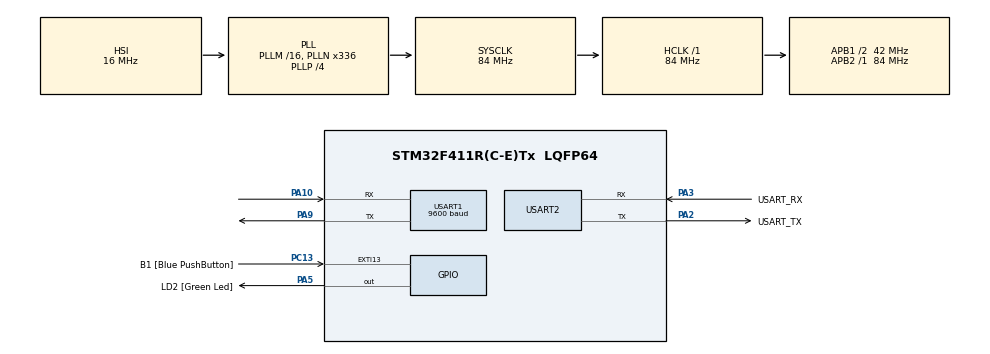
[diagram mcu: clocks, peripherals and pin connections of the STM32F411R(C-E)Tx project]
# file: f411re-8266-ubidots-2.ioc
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Mcu.Family=STM32F4
Mcu.Name=STM32F411R(C-E)Tx
Mcu.Package=LQFP64
NVIC.PriorityGroup=NVIC_PRIORITYGROUP_4
NVIC.USART1_IRQn=true\:1\:0\:true\:false\:true\:true\:true
PA10.Mode=Asynchronous
PA10.Signal=USART1_RX
PA13.GPIO_Label=TMS
PA13.Mode=Serial_Wire
PA13.Signal=SYS_JTMS-SWDIO
PA14.GPIO_Label=TCK
PA14.Mode=Serial_Wire
PA14.Signal=SYS_JTCK-SWCLK
PA2.GPIO_Label=USART_TX
PA2.Mode=Asynchronous
PA2.Signal=USART2_TX
PA3.GPIO_Label=USART_RX
PA3.Mode=Asynchronous
PA3.Signal=USART2_RX
PA5.GPIO_Label=LD2 [Green Led]
PA5.Signal=GPIO_Output
PA9.Mode=Asynchronous
PA9.Signal=USART1_TX
PB3.GPIO_Label=SWO
PB3.Signal=SYS_JTDO-SWO
PC13-ANTI_TAMP.GPIO_Label=B1 [Blue PushButton]
PC13-ANTI_TAMP.GPIO_ModeDefaultEXTI=GPIO_MODE_IT_FALLING
PC13-ANTI_TAMP.Signal=GPXTI13
PC14-OSC32_IN.Mode=LSE-External-Oscillator
PC14-OSC32_IN.Signal=RCC_OSC32_IN
PC15-OSC32_OUT.Mode=LSE-External-Oscillator
PC15-OSC32_OUT.Signal=RCC_OSC32_OUT
PH0\ -\ OSC_IN.Mode=HSE-External-Clock-Source
PH0\ -\ OSC_IN.Signal=RCC_OSC_IN
PH1\ -\ OSC_OUT.Mode=HSE-External-Clock-Source
PH1\ -\ OSC_OUT.Signal=RCC_OSC_OUT
ProjectManager.HeapSize=0x200
ProjectManager.StackSize=0x400
ProjectManager.TargetToolchain=STM32CubeIDE
RCC.48MHZClocksFreq_Value=84000000
RCC.AHBFreq_Value=84000000
RCC.APB1CLKDivider=RCC_HCLK_DIV2
RCC.APB1Freq_Value=42000000
RCC.APB1TimFreq_Value=84000000
RCC.APB2Freq_Value=84000000
RCC.APB2TimFreq_Value=84000000
RCC.CortexFreq_Value=84000000
RCC.FLatency-AdvancedSettings=FLASH_LATENCY_2
RCC.HCLKFreq_Value=84000000
RCC.HSE_VALUE=8000000
RCC.HSI_VALUE=16000000
RCC.PLLN=336
RCC.PLLP=RCC_PLLP_DIV4
RCC.SYSCLKFreq_VALUE=84000000
RCC.SYSCLKSource=RCC_SYSCLKSOURCE_PLLCLK
RCC.VCOOutputFreq_Value=336000000
USART1.BaudRate=9600
USART1.VirtualMode=VM_ASYNC
USART2.VirtualMode=VM_ASYNC
board=NUCLEO-F411RE

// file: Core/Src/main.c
/* USER CODE BEGIN Header */
/**
  ******************************************************************************
  * @file           : main.c
  * @brief          : Main program body
  ******************************************************************************
  * @attention
  *
  * <h2><center>&copy; Copyright (c) 2021 STMicroelectronics.
  * All rights reserved.</center></h2>
  *
  * This software component is licensed by ST under BSD 3-Clause license,
  * the "License"; You may not use this file except in compliance with the
  * License. You may obtain a copy of the License at:
  *                        opensource.org/licenses/BSD-3-Clause
  *
  ******************************************************************************
  */
/* USER CODE END Header */
#include "main.h"

/* USER CODE BEGIN Includes */
#include <stdio.h>
#include <string.h>
/* USER CODE END Includes */

UART_HandleTypeDef huart1;
UART_HandleTypeDef huart2;

void SystemClock_Config(void);
static void MX_GPIO_Init(void);
static void MX_USART2_UART_Init(void);
static void MX_USART1_UART_Init(void);

/* USER CODE BEGIN 0 */
const char WIFI_NAME[] = "GET_SSID";
const char WIFI_PASSW[] = "GET_PASSWORD";
const char UBIDOTS_TOKEN[] =   "GET_TOKEN";
const char UBIDOTS_DEVICE[] = "Demo";

char sendBuff[512], sendBuff2[512];
char sendBuffer[512];
char message[128];

uint8_t recArr[64], recData;
uint8_t buffLen, buffLen2, buffCnt = 0;
uint8_t count = 0;

void HAL_UART_RxCpltCallback(UART_HandleTypeDef *huart)
{
	recArr[buffCnt++] = recData;
	if(buffCnt == 64) buffCnt = 0;
	HAL_UART_Receive_IT(&huart1, &recData, 1);
}
/* USER CODE END 0 */

int main(void)
{

  /* MCU Configuration--------------------------------------------------------*/

  /* Reset of all peripherals, Initializes the Flash interface and the Systick. */
  HAL_Init();

  /* Configure the system clock */
  SystemClock_Config();

  /* Initialize all configured peripherals */
  MX_GPIO_Init();
  MX_USART2_UART_Init();
  MX_USART1_UART_Init();
  /* USER CODE BEGIN 2 */

  // Wifi Connection
  buffLen = sprintf(sendBuff, "AT+CWMODE_CUR=1\r\n");
  HAL_UART_Transmit(&huart1, (uint8_t *)sendBuff, buffLen, 1000);

  buffLen = sprintf(sendBuff, "AT+CWLAP\r\n");
  HAL_UART_Transmit(&huart1, (uint8_t *)sendBuff, buffLen, 1000);

  HAL_Delay(2000);

  buffLen = sprintf(sendBuff, "AT+CWJAP_CUR=\"%s\",\"%s\"\r\n", WIFI_NAME, WIFI_PASSW);
  HAL_UART_Transmit(&huart1, (uint8_t *)sendBuff, buffLen, 1000);

  /* USER CODE END 2 */

  /* Infinite loop */
  /* USER CODE BEGIN WHILE */
  while (1)
  {
	  HAL_GPIO_TogglePin(LD2_GPIO_Port,LD2_Pin);
	  HAL_Delay(500);
    /* USER CODE END WHILE */

    /* USER CODE BEGIN 3 */
	  count++;		// increment counter

	  // connect Ubidots server
	  buffLen = sprintf(sendBuff, "AT+CIPSTART=\"TCP\",\"things.ubidots.com\",80\r\n");
	  HAL_UART_Transmit(&huart1, (uint8_t *)sendBuff, buffLen, 1000);
	  HAL_Delay(3000);

	  /* Construct content of HTTP command */
	  sprintf(message, "{\"counter\": %d}", (int)count);
	  printf("Content Length = %d\r\n", (int)strlen(message));

	  // after connection to Ubidots, prepare data to send
	  buffLen = sprintf(sendBuff, "POST /api/v1.6/devices/%s/?token=%s HTTP/1.1\r\nHost: things.ubidots.com\r\nContent-Type: application/json\r\nContent-Length: %d\r\n\r\n%s", UBIDOTS_DEVICE, UBIDOTS_TOKEN, (int)strlen(message),message);
	  buffLen2 = sprintf(sendBuff2, "AT+CIPSEND=%d\r\n", buffLen);

	  // send prepared buffers to Ubidots using ESP8266
	  HAL_UART_Transmit(&huart1, (uint8_t *)sendBuff2, buffLen2, 1000);
	  HAL_Delay(1000);
	  HAL_UART_Transmit(&huart1, (uint8_t *)sendBuff, buffLen, 1000);

	  // wait for 15s to send new data
	  HAL_Delay(15000);
  }
  /* USER CODE END 3 */
}

void SystemClock_Config(void)
{
  RCC_OscInitTypeDef RCC_OscInitStruct = {0};
  RCC_ClkInitTypeDef RCC_ClkInitStruct = {0};

  /** Configure the main internal regulator output voltage
  */
  __HAL_RCC_PWR_CLK_ENABLE();
  __HAL_PWR_VOLTAGESCALING_CONFIG(PWR_REGULATOR_VOLTAGE_SCALE1);
  /** Initializes the RCC Oscillators according to the specified parameters
  * in the RCC_OscInitTypeDef structure.
  */
  RCC_OscInitStruct.OscillatorType = RCC_OSCILLATORTYPE_HSI;
  RCC_OscInitStruct.HSIState = RCC_HSI_ON;
  RCC_OscInitStruct.HSICalibrationValue = RCC_HSICALIBRATION_DEFAULT;
  RCC_OscInitStruct.PLL.PLLState = RCC_PLL_ON;
  RCC_OscInitStruct.PLL.PLLSource = RCC_PLLSOURCE_HSI;
  RCC_OscInitStruct.PLL.PLLM = 16;
  RCC_OscInitStruct.PLL.PLLN = 336;
  RCC_OscInitStruct.PLL.PLLP = RCC_PLLP_DIV4;
  RCC_OscInitStruct.PLL.PLLQ = 4;
  if (HAL_RCC_OscConfig(&RCC_OscInitStruct) != HAL_OK)
  {
    Error_Handler();
  }
  /** Initializes the CPU, AHB and APB buses clocks
  */
  RCC_ClkInitStruct.ClockType = RCC_CLOCKTYPE_HCLK|RCC_CLOCKTYPE_SYSCLK
                              |RCC_CLOCKTYPE_PCLK1|RCC_CLOCKTYPE_PCLK2;
  RCC_ClkInitStruct.SYSCLKSource = RCC_SYSCLKSOURCE_PLLCLK;
  RCC_ClkInitStruct.AHBCLKDivider = RCC_SYSCLK_DIV1;
  RCC_ClkInitStruct.APB1CLKDivider = RCC_HCLK_DIV2;
  RCC_ClkInitStruct.APB2CLKDivider = RCC_HCLK_DIV1;

  if (HAL_RCC_ClockConfig(&RCC_ClkInitStruct, FLASH_LATENCY_2) != HAL_OK)
  {
    Error_Handler();
  }
}

static void MX_USART1_UART_Init(void)
{

  huart1.Instance = USART1;
  huart1.Init.BaudRate = 9600;
  huart1.Init.WordLength = UART_WORDLENGTH_8B;
  huart1.Init.StopBits = UART_STOPBITS_1;
  huart1.Init.Parity = UART_PARITY_NONE;
  huart1.Init.Mode = UART_MODE_TX_RX;
  huart1.Init.HwFlowCtl = UART_HWCONTROL_NONE;
  huart1.Init.OverSampling = UART_OVERSAMPLING_16;
  if (HAL_UART_Init(&huart1) != HAL_OK)
  {
    Error_Handler();
  }

}

static void MX_USART2_UART_Init(void)
{

  huart2.Instance = USART2;
  huart2.Init.BaudRate = 115200;
  huart2.Init.WordLength = UART_WORDLENGTH_8B;
  huart2.Init.StopBits = UART_STOPBITS_1;
  huart2.Init.Parity = UART_PARITY_NONE;
  huart2.Init.Mode = UART_MODE_TX_RX;
  huart2.Init.HwFlowCtl = UART_HWCONTROL_NONE;
  huart2.Init.OverSampling = UART_OVERSAMPLING_16;
  if (HAL_UART_Init(&huart2) != HAL_OK)
  {
    Error_Handler();
  }

}

static void MX_GPIO_Init(void)
{
  GPIO_InitTypeDef GPIO_InitStruct = {0};

  /* GPIO Ports Clock Enable */
  __HAL_RCC_GPIOC_CLK_ENABLE();
  __HAL_RCC_GPIOH_CLK_ENABLE();
  __HAL_RCC_GPIOA_CLK_ENABLE();
  __HAL_RCC_GPIOB_CLK_ENABLE();

  /*Configure GPIO pin Output Level */
  HAL_GPIO_WritePin(LD2_GPIO_Port, LD2_Pin, GPIO_PIN_RESET);

  /*Configure GPIO pin : B1_Pin */
  GPIO_InitStruct.Pin = B1_Pin;
  GPIO_InitStruct.Mode = GPIO_MODE_IT_FALLING;
  GPIO_InitStruct.Pull = GPIO_NOPULL;
  HAL_GPIO_Init(B1_GPIO_Port, &GPIO_InitStruct);

  /*Configure GPIO pin : LD2_Pin */
  GPIO_InitStruct.Pin = LD2_Pin;
  GPIO_InitStruct.Mode = GPIO_MODE_OUTPUT_PP;
  GPIO_InitStruct.Pull = GPIO_NOPULL;
  GPIO_InitStruct.Speed = GPIO_SPEED_FREQ_LOW;
  HAL_GPIO_Init(LD2_GPIO_Port, &GPIO_InitStruct);

}

void Error_Handler(void)
{
  __disable_irq();
  while (1)
  {
  }
}

/************************ (C) COPYRIGHT STMicroelectronics *****END OF FILE****/
